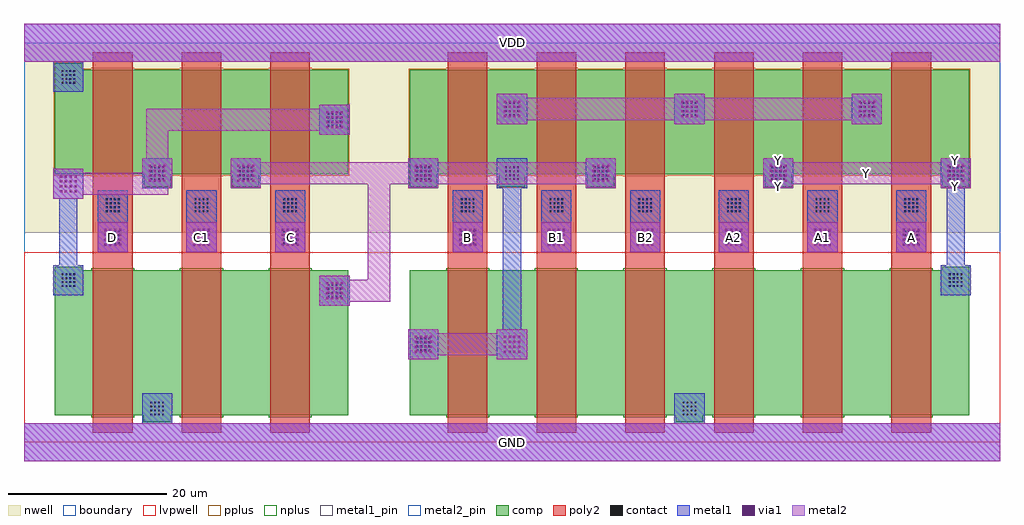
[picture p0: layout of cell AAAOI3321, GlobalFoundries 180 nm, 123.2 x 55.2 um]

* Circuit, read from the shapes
.subckt AAAOI3321 A A1 A2 B B1 B2 C C1 D GND VDD Y
XM1 GND D n1 VSUBS nfet_03v3 w=18.3u l=5u
XM2 n2 C1 GND VSUBS nfet_03v3 w=18.3u l=5u
XM3 n3 C n2 VSUBS nfet_03v3 w=18.3u l=5u
XM4 n4 B n5 VSUBS nfet_03v3 w=18.3u l=5u
XM5 n6 B1 n4 VSUBS nfet_03v3 w=18.3u l=5u
XM6 GND B2 n6 VSUBS nfet_03v3 w=18.3u l=5u
XM7 n7 A2 GND VSUBS nfet_03v3 w=18.3u l=5u
XM8 n8 A1 n7 VSUBS nfet_03v3 w=18.3u l=5u
XM9 Y A n8 VSUBS nfet_03v3 w=18.3u l=5u
XM10 n1 D VDD n9 pfet_03v3 w=13.2u l=5u
XM11 n3 C1 n1 n9 pfet_03v3 w=13.2u l=5u
XM12 n1 C n3 n9 pfet_03v3 w=13.2u l=5u
XM13 n5 B n3 n9 pfet_03v3 w=13.2u l=5u
XM14 n3 B1 n5 n9 pfet_03v3 w=13.2u l=5u
XM15 n5 B2 n3 n9 pfet_03v3 w=13.2u l=5u
XM16 Y A2 n5 n9 pfet_03v3 w=13.2u l=5u
XM17 n5 A1 Y n9 pfet_03v3 w=13.2u l=5u
XM18 Y A n5 n9 pfet_03v3 w=13.2u l=5u
.ends

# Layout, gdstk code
import gdstk
lib = gdstk.Library(unit=1e-6, precision=1e-09)
def R(c, l, rs):  # rectangles x0, y0, x1, y1
    for r in rs: c.add(gdstk.rectangle(r[:2], r[2:], *l))
def A(c, l, x, y, w, h, nx, ny, dx, dy):  # array of equal rectangles
    R(c, l, [(x+i*dx, y+j*dy, x+i*dx+w, y+j*dy+h) for i in range(nx) for j in range(ny)])
boundary = (0, 0)
nwell = (21, 0)
comp = (22, 0)
poly2 = (30, 0)
pplus = (31, 0)
nplus = (32, 0)
contact = (33, 0)
metal1 = (34, 0)
metal1_pin = (34, 10)
via1 = (35, 0)
metal2 = (36, 0)
metal2_pin = (36, 10)
lvpwell = (204, 0)

aaaoi3321 = lib.new_cell('AAAOI3321')
R(aaaoi3321, boundary, [(0,0,123.2,50.4)])
R(aaaoi3321, nwell, [(0,26.45,123.2,50.4)])
A(aaaoi3321, comp, 48.7, 32.25, 3.4, 1.55, 3, 1, 11.2, 0)
R(aaaoi3321, comp, [(15.1,2.55,18.5,3.4), (82.3,2.55,85.7,3.4), (3.9,3.4,40.9,21.7), (48.7,3.4,119.3,21.7), (3.9,21.7,7.3,22.15), (115.9,21.7,119.3,22.15), (15.1,32.25,18.5,33.8), (26.3,32.25,29.7,33.8), (93.5,32.25,96.9,33.8), (115.9,32.25,119.3,33.8), (3.9,33.8,40.9,47), (48.7,33.8,119.3,47), (3.9,47,7.3,47.8)])
A(aaaoi3321, poly2, 8.7, 1.2, 5, 48, 3, 1, 11.2, 0)
A(aaaoi3321, poly2, 53.5, 1.2, 5, 48, 6, 1, 11.2, 0)
A(aaaoi3321, pplus, 48.54, 32.09, 3.72, 1.55, 3, 1, 11.2, 0)
A(aaaoi3321, pplus, 8.47, 33.57, 5.46, 0.07, 3, 2, 11.2, 13.59)
A(aaaoi3321, pplus, 53.27, 33.57, 5.46, 0.07, 6, 2, 11.2, 13.59)
R(aaaoi3321, pplus, [(14.94,32.09,18.66,33.64), (26.14,32.09,29.86,33.64), (93.34,32.09,97.06,33.64), (115.74,32.09,119.46,33.64), (3.74,33.64,41.06,47.16), (48.54,33.64,119.46,47.16), (3.74,47.16,7.46,47.96)])
A(aaaoi3321, nplus, 8.47, 3.17, 5.46, 0.21, 3, 2, 11.2, 18.55)
A(aaaoi3321, nplus, 53.27, 3.17, 5.46, 0.21, 6, 2, 11.2, 18.55)
R(aaaoi3321, nplus, [(15.08,2.53,18.52,3.38), (82.28,2.53,85.72,3.38), (3.88,3.38,40.92,21.72), (48.68,3.38,119.32,21.72), (3.88,21.72,7.32,22.17), (115.88,21.72,119.32,22.17)])
A(aaaoi3321, contact, 15.94, 3.39, 0.22, 0.22, 4, 4, 0.5, 0.5)
A(aaaoi3321, contact, 83.14, 3.39, 0.22, 0.22, 4, 4, 0.5, 0.5)
A(aaaoi3321, contact, 49.54, 11.49, 0.22, 0.22, 4, 4, 0.5, 0.5)
A(aaaoi3321, contact, 38.34, 18.24, 0.22, 0.22, 4, 4, 0.5, 0.5)
A(aaaoi3321, contact, 4.74, 19.59, 0.22, 0.22, 4, 4, 0.5, 0.5)
A(aaaoi3321, contact, 116.74, 19.59, 0.22, 0.22, 4, 4, 0.5, 0.5)
A(aaaoi3321, contact, 10.34, 24.99, 0.22, 0.22, 4, 4, 0.5, 0.5)
A(aaaoi3321, contact, 21.54, 24.99, 0.22, 0.22, 4, 4, 0.5, 0.5)
A(aaaoi3321, contact, 32.74, 24.99, 0.22, 0.22, 4, 4, 0.5, 0.5)
A(aaaoi3321, contact, 55.14, 24.99, 0.22, 0.22, 4, 4, 0.5, 0.5)
A(aaaoi3321, contact, 66.34, 24.99, 0.22, 0.22, 4, 4, 0.5, 0.5)
A(aaaoi3321, contact, 77.54, 24.99, 0.22, 0.22, 4, 4, 0.5, 0.5)
A(aaaoi3321, contact, 88.74, 24.99, 0.22, 0.22, 4, 4, 0.5, 0.5)
A(aaaoi3321, contact, 99.94, 24.99, 0.22, 0.22, 4, 4, 0.5, 0.5)
A(aaaoi3321, contact, 111.14, 24.99, 0.22, 0.22, 4, 4, 0.5, 0.5)
A(aaaoi3321, contact, 10.34, 29.04, 0.22, 0.22, 4, 4, 0.5, 0.5)
A(aaaoi3321, contact, 21.54, 29.04, 0.22, 0.22, 4, 4, 0.5, 0.5)
A(aaaoi3321, contact, 32.74, 29.04, 0.22, 0.22, 4, 4, 0.5, 0.5)
A(aaaoi3321, contact, 55.14, 29.04, 0.22, 0.22, 4, 4, 0.5, 0.5)
A(aaaoi3321, contact, 66.34, 29.04, 0.22, 0.22, 4, 4, 0.5, 0.5)
A(aaaoi3321, contact, 77.54, 29.04, 0.22, 0.22, 4, 4, 0.5, 0.5)
A(aaaoi3321, contact, 88.74, 29.04, 0.22, 0.22, 4, 4, 0.5, 0.5)
A(aaaoi3321, contact, 99.94, 29.04, 0.22, 0.22, 4, 4, 0.5, 0.5)
A(aaaoi3321, contact, 111.14, 29.04, 0.22, 0.22, 4, 4, 0.5, 0.5)
A(aaaoi3321, contact, 15.94, 33.09, 0.22, 0.22, 4, 4, 0.5, 0.5)
A(aaaoi3321, contact, 27.14, 33.09, 0.22, 0.22, 4, 4, 0.5, 0.5)
A(aaaoi3321, contact, 49.54, 33.09, 0.22, 0.22, 4, 4, 0.5, 0.5)
A(aaaoi3321, contact, 60.74, 33.09, 0.22, 0.22, 4, 4, 0.5, 0.5)
A(aaaoi3321, contact, 71.94, 33.09, 0.22, 0.22, 4, 4, 0.5, 0.5)
A(aaaoi3321, contact, 94.34, 33.09, 0.22, 0.22, 4, 4, 0.5, 0.5)
A(aaaoi3321, contact, 116.74, 33.09, 0.22, 0.22, 4, 4, 0.5, 0.5)
A(aaaoi3321, contact, 38.34, 39.84, 0.22, 0.22, 4, 4, 0.5, 0.5)
A(aaaoi3321, contact, 60.74, 41.19, 0.22, 0.22, 4, 4, 0.5, 0.5)
A(aaaoi3321, contact, 83.14, 41.19, 0.22, 0.22, 4, 4, 0.5, 0.5)
A(aaaoi3321, contact, 105.54, 41.19, 0.22, 0.22, 4, 4, 0.5, 0.5)
A(aaaoi3321, contact, 4.74, 45.24, 0.22, 0.22, 4, 4, 0.5, 0.5)
A(aaaoi3321, metal1, 9.3, 23.95, 3.8, 7.85, 3, 1, 11.2, 0)
A(aaaoi3321, metal1, 54.1, 23.95, 3.8, 7.85, 6, 1, 11.2, 0)
A(aaaoi3321, metal1, 48.5, 32.05, 3.8, 3.8, 3, 1, 11.2, 0)
A(aaaoi3321, metal1, 59.7, 40.15, 3.8, 3.8, 3, 1, 22.4, 0)
R(aaaoi3321, metal1, [(0,-2.4,123.2,2.4), (14.9,2.4,18.7,6.15), (82.1,2.4,85.9,6.15), (48.5,10.45,52.3,14.25), (59.7,10.45,63.5,14.25), (60.45,14.25,62.75,32.05), (37.3,17.2,41.1,21), (3.7,18.55,7.5,22.35), (115.7,18.55,119.5,22.35), (4.45,22.35,6.75,30.7), (116.45,22.35,118.75,32.05), (3.7,30.7,7.5,34.5), (14.9,32.05,18.7,35.85), (26.1,32.05,29.9,35.85), (93.3,32.05,97.1,35.85), (115.7,32.05,119.5,35.85), (37.3,38.8,41.1,42.6), (3.7,44.2,7.5,48), (0,48,123.2,52.8)])
R(aaaoi3321, metal1_pin, [(0,-2.4,123.2,2.4), (0,48,123.2,52.8)])
A(aaaoi3321, via1, 49.34, 11.29, 0.26, 0.26, 4, 4, 0.62, 0.62)
A(aaaoi3321, via1, 60.54, 11.29, 0.26, 0.26, 4, 4, 0.62, 0.62)
A(aaaoi3321, via1, 38.14, 18.04, 0.26, 0.26, 4, 4, 0.62, 0.62)
A(aaaoi3321, via1, 10.14, 24.79, 0.26, 0.26, 4, 4, 0.62, 0.62)
A(aaaoi3321, via1, 21.34, 24.79, 0.26, 0.26, 4, 4, 0.62, 0.62)
A(aaaoi3321, via1, 32.54, 24.79, 0.26, 0.26, 4, 4, 0.62, 0.62)
A(aaaoi3321, via1, 54.94, 24.79, 0.26, 0.26, 4, 4, 0.62, 0.62)
A(aaaoi3321, via1, 66.14, 24.79, 0.26, 0.26, 4, 4, 0.62, 0.62)
A(aaaoi3321, via1, 77.34, 24.79, 0.26, 0.26, 4, 4, 0.62, 0.62)
A(aaaoi3321, via1, 88.54, 24.79, 0.26, 0.26, 4, 4, 0.62, 0.62)
A(aaaoi3321, via1, 99.74, 24.79, 0.26, 0.26, 4, 4, 0.62, 0.62)
A(aaaoi3321, via1, 110.94, 24.79, 0.26, 0.26, 4, 4, 0.62, 0.62)
A(aaaoi3321, via1, 4.54, 31.54, 0.26, 0.26, 4, 4, 0.62, 0.62)
A(aaaoi3321, via1, 15.74, 32.89, 0.26, 0.26, 4, 4, 0.62, 0.62)
A(aaaoi3321, via1, 26.94, 32.89, 0.26, 0.26, 4, 4, 0.62, 0.62)
A(aaaoi3321, via1, 49.34, 32.89, 0.26, 0.26, 4, 4, 0.62, 0.62)
A(aaaoi3321, via1, 71.74, 32.89, 0.26, 0.26, 4, 4, 0.62, 0.62)
A(aaaoi3321, via1, 94.14, 32.89, 0.26, 0.26, 4, 4, 0.62, 0.62)
A(aaaoi3321, via1, 116.54, 32.89, 0.26, 0.26, 4, 4, 0.62, 0.62)
A(aaaoi3321, via1, 38.14, 39.64, 0.26, 0.26, 4, 4, 0.62, 0.62)
A(aaaoi3321, via1, 60.54, 40.99, 0.26, 0.26, 4, 4, 0.62, 0.62)
A(aaaoi3321, via1, 82.94, 40.99, 0.26, 0.26, 4, 4, 0.62, 0.62)
A(aaaoi3321, via1, 105.34, 40.99, 0.26, 0.26, 4, 4, 0.62, 0.62)
A(aaaoi3321, metal2, 9.3, 23.95, 3.8, 3.8, 3, 1, 11.2, 0)
A(aaaoi3321, metal2, 54.1, 23.95, 3.8, 3.8, 6, 1, 11.2, 0)
A(aaaoi3321, metal2, 26.1, 32.05, 3.8, 0.5, 5, 2, 22.4, 3.3)
A(aaaoi3321, metal2, 59.7, 40.15, 3.8, 0.5, 3, 2, 22.4, 3.3)
R(aaaoi3321, metal2, [(0,-2.4,123.2,2.4), (48.5,10.45,52.3,10.95), (59.7,10.45,63.5,10.95), (48.5,10.95,63.5,13.75), (48.5,13.75,52.3,14.25), (59.7,13.75,63.5,14.25), (37.3,17.2,41.1,17.7), (37.3,17.7,46.2,20.5), (37.3,20.5,41.1,21), (43.4,20.5,46.2,32.55), (3.7,30.7,7.5,31.2), (3.7,31.2,18.2,32.05), (3.7,32.05,18.7,34), (26.1,32.55,74.7,35.35), (93.3,32.55,119.5,35.35), (3.7,34,7.5,34.5), (14.9,34,18.7,35.85), (15.4,35.85,18.2,39.3), (37.3,38.8,41.1,39.3), (15.4,39.3,41.1,42.1), (59.7,40.65,108.3,43.45), (37.3,42.1,41.1,42.6), (0,48,123.2,52.8)])
A(aaaoi3321, metal2_pin, 9.3, 23.95, 3.8, 3.8, 3, 1, 11.2, 0)
A(aaaoi3321, metal2_pin, 54.1, 23.95, 3.8, 3.8, 6, 1, 11.2, 0)
R(aaaoi3321, metal2_pin, [(93.3,32.05,97.1,32.55), (115.7,32.05,119.5,32.55), (93.3,32.55,119.5,35.35), (93.3,35.35,97.1,35.85), (115.7,35.35,119.5,35.85)])
R(aaaoi3321, lvpwell, [(0,0,123.2,23.95)])
aaaoi3321.add(gdstk.Label('VDD', (61.6,50.4), layer=34, texttype=10))
aaaoi3321.add(gdstk.Label('GND', (61.6,0), layer=34, texttype=10))
aaaoi3321.add(gdstk.Label('Y', (95.2,32.3), layer=36, texttype=10))
aaaoi3321.add(gdstk.Label('Y', (117.6,32.3), layer=36, texttype=10))
aaaoi3321.add(gdstk.Label('Y', (106.4,33.95), layer=36, texttype=10))
aaaoi3321.add(gdstk.Label('Y', (95.2,35.6), layer=36, texttype=10))
aaaoi3321.add(gdstk.Label('Y', (117.6,35.6), layer=36, texttype=10))
aaaoi3321.add(gdstk.Label('A1', (100.8,25.85), layer=36, texttype=10))
aaaoi3321.add(gdstk.Label('C1', (22.4,25.85), layer=36, texttype=10))
aaaoi3321.add(gdstk.Label('B2', (78.4,25.85), layer=36, texttype=10))
aaaoi3321.add(gdstk.Label('C', (33.6,25.85), layer=36, texttype=10))
aaaoi3321.add(gdstk.Label('B', (56,25.85), layer=36, texttype=10))
aaaoi3321.add(gdstk.Label('B1', (67.2,25.85), layer=36, texttype=10))
aaaoi3321.add(gdstk.Label('A2', (89.6,25.85), layer=36, texttype=10))
aaaoi3321.add(gdstk.Label('D', (11.2,25.85), layer=36, texttype=10))
aaaoi3321.add(gdstk.Label('A', (112,25.85), layer=36, texttype=10))

lib.write_gds('AAAOI3321.gds')
